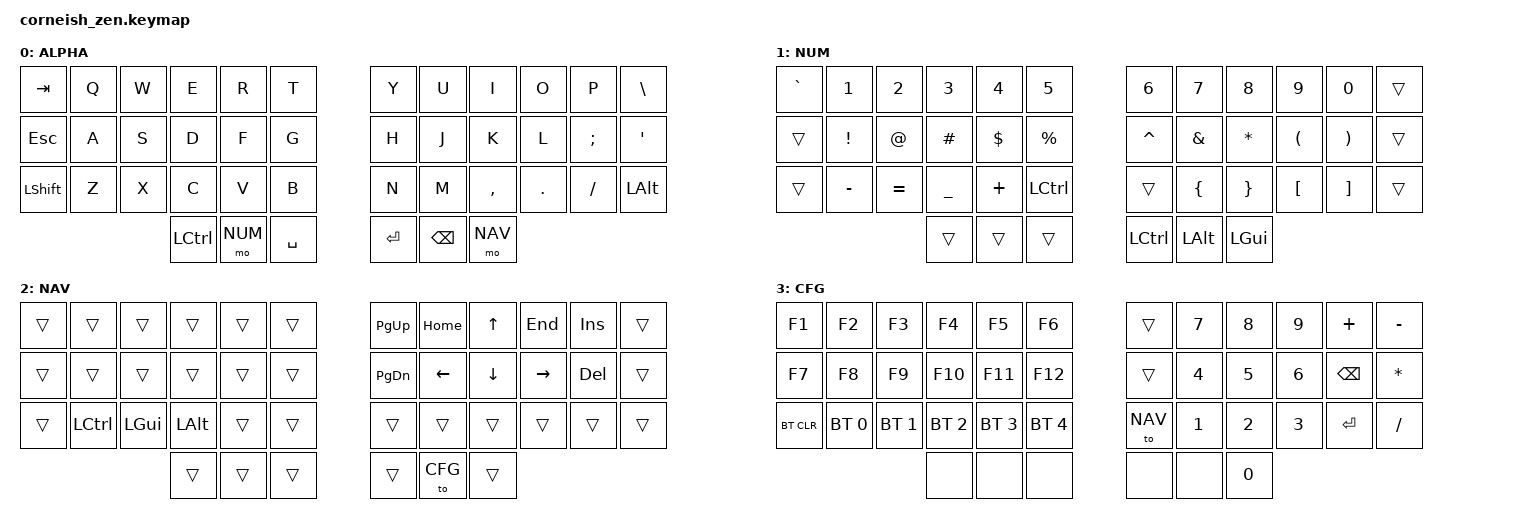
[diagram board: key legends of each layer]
#include <behaviors.dtsi>
#include <dt-bindings/zmk/keys.h>
#include <dt-bindings/zmk/bt.h>

#define DEFAULT 0
#define NUM 1
#define NAV 2
#define CFG 3


/*
  KEY POSITIONS
  ╭────────────────────────╮  ╭────────────────────────╮
  │ 0   1   2   3   4   5  │  │ 6   7   8   9   10  11 │
  │ 12  13  14  15  16  17 │  │ 18  19  20  21  22  23 │
  │ 24  25  26  27  28  29 │  │ 30  31  32  33  34  35 │
  ╰───────────╮ 36  37  38 │  │ 39  40  41 ╭───────────╯
              ╰────────────╯  ╰────────────╯
*/

&lt {
    tapping-term-ms = <140>;
    flavor = "balanced";
};

/ {
    chosen {
        zmk,matrix_transform = &default_transform;
    };
};

/ {
    keymap {
        compatible = "zmk,keymap";

        DEFAULT {
            label = "ALPHA";
            bindings = <
    // ╭───────────────┬───────────────┬───────────────┬───────────────┬───────────────┬───────────────╮   ╭───────────────┬───────────────┬───────────────┬───────────────┬───────────────┬───────────────╮
        &kp TAB         &kp Q           &kp W           &kp E           &kp R           &kp T               &kp Y           &kp U           &kp I           &kp O           &kp P           &kp BSLH
    // ├───────────────├───────────────┼───────────────┼───────────────┼───────────────┼───────────────┤   ├───────────────├───────────────┼───────────────┼───────────────┼───────────────┼───────────────┤
        &kp ESC         &kp A           &kp S           &kp D           &kp F           &kp G               &kp H           &kp J           &kp K           &kp L           &kp SEMI        &kp SQT
    // ├───────────────├───────────────┼───────────────┼───────────────┼───────────────┼───────────────┤   ├───────────────├───────────────┼───────────────┼───────────────┼───────────────┼───────────────┤
        &kp LSHFT       &kp Z           &kp X           &kp C           &kp V           &kp B               &kp N           &kp M           &kp COMMA       &kp DOT         &kp FSLH        &kp LALT
    // ╰───────────────┴───────────────┴───────────────┼───────────────┼───────────────┼───────────────┤   ├───────────────├───────────────┼───────────────┼───────────────┴───────────────┴───────────────╯
                                                        &kp LCTRL       &mo NUM         &kp SPACE           &kp RET         &kp BSPC        &mo NAV
    //                                                 ╰───────────────┴───────────────┴───────────────╯   ╰───────────────┴───────────────┴───────────────╯
            >;
        };
        NUM {
            label = "NUM";
            bindings = <
    // ╭───────────────┬───────────────┬───────────────┬───────────────┬───────────────┬───────────────╮   ╭───────────────┬───────────────┬───────────────┬───────────────┬───────────────┬───────────────╮
        &kp GRAVE       &kp N1          &kp N2          &kp N3          &kp N4          &kp N5              &kp N6          &kp N7          &kp N8          &kp N9          &kp N0          &trans
    // ├───────────────├───────────────┼───────────────┼───────────────┼───────────────┼───────────────┤   ├───────────────├───────────────┼───────────────┼───────────────┼───────────────┼───────────────┤
        &trans          &kp EXCL        &kp AT          &kp HASH        &kp DLLR        &kp PRCNT           &kp CARET       &kp AMPS        &kp STAR        &kp LPAR        &kp RPAR        &trans
    // ├───────────────├───────────────┼───────────────┼───────────────┼───────────────┼───────────────┤   ├───────────────├───────────────┼───────────────┼───────────────┼───────────────┼───────────────┤
        &trans          &kp MINUS       &kp EQUAL       &kp UNDER       &kp PLUS        &kp LCTRL           &trans          &kp LBRC        &kp RBRC        &kp LBKT        &kp RBKT        &trans
    // ╰───────────────┴───────────────┴───────────────┼───────────────┼───────────────┼───────────────┤   ├───────────────├───────────────┼───────────────┼───────────────┴───────────────┴───────────────╯
                                                        &trans          &trans          &trans              &kp LCTRL       &kp LALT        &kp LGUI
    //                                                 ╰───────────────┴───────────────┴───────────────╯   ╰───────────────┴───────────────┴───────────────╯
            >;
        };
        NAV {
            label = "NAV";
            bindings = <
    // ╭───────────────┬───────────────┬───────────────┬───────────────┬───────────────┬───────────────╮   ╭───────────────┬───────────────┬───────────────┬───────────────┬───────────────┬───────────────╮
        &trans          &trans          &trans          &trans          &trans          &trans              &kp PG_UP       &kp HOME        &kp UP          &kp END         &kp INS         &trans
    // ├───────────────├───────────────┼───────────────┼───────────────┼───────────────┼───────────────┤   ├───────────────├───────────────┼───────────────┼───────────────┼───────────────┼───────────────┤
        &trans          &trans          &trans          &trans          &trans          &trans              &kp PG_DN       &kp LEFT        &kp DOWN        &kp RIGHT       &kp DEL         &trans
    // ├───────────────├───────────────┼───────────────┼───────────────┼───────────────┼───────────────┤   ├───────────────├───────────────┼───────────────┼───────────────┼───────────────┼───────────────┤
        &trans          &kp LCTRL       &kp LGUI        &kp LALT        &trans          &trans              &trans          &trans          &trans          &trans          &trans          &trans
    // ╰───────────────┴───────────────┴───────────────┼───────────────┼───────────────┼───────────────┤   ├───────────────├───────────────┼───────────────┼───────────────┴───────────────┴───────────────╯
                                                        &trans          &trans          &trans              &trans          &to CFG         &trans 
    //                                                 ╰───────────────┴───────────────┴───────────────╯   ╰───────────────┴───────────────┴───────────────╯
            >;
        };
        CFG {
            label = "CFG";
            bindings = <
    // ╭───────────────┬───────────────┬───────────────┬───────────────┬───────────────┬───────────────╮   ╭───────────────┬───────────────┬───────────────┬───────────────┬───────────────┬───────────────╮
        &kp F1          &kp F2          &kp F3          &kp F4          &kp F5          &kp F6              &trans          &kp N7          &kp N8          &kp N9          &kp PLUS        &kp MINUS 
    // ├───────────────├───────────────┼───────────────┼───────────────┼───────────────┼───────────────┤   ├───────────────├───────────────┼───────────────┼───────────────┼───────────────┼───────────────┤
        &kp F7          &kp F8          &kp F9          &kp F10         &kp F11         &kp F12             &trans          &kp N4          &kp N5          &kp N6          &kp BSPC        &kp STAR
    // ├───────────────├───────────────┼───────────────┼───────────────┼───────────────┼───────────────┤   ├───────────────├───────────────┼───────────────┼───────────────┼───────────────┼───────────────┤
        &bt BT_CLR      &bt BT_SEL 0    &bt BT_SEL 1    &bt BT_SEL 2    &bt BT_SEL 3    &bt BT_SEL 4        &to NAV         &kp N1          &kp N2          &kp N3          &kp RET         &kp SLASH
    // ╰───────────────┴───────────────┴───────────────┼───────────────┼───────────────┼───────────────┤   ├───────────────├───────────────┼───────────────┼───────────────┴───────────────┴───────────────╯
                                                        &none           &none           &none               &none           &none           &kp N0
    //                                                 ╰───────────────┴───────────────┴───────────────╯   ╰───────────────┴───────────────┴───────────────╯
            >;
        };
    };
    };
